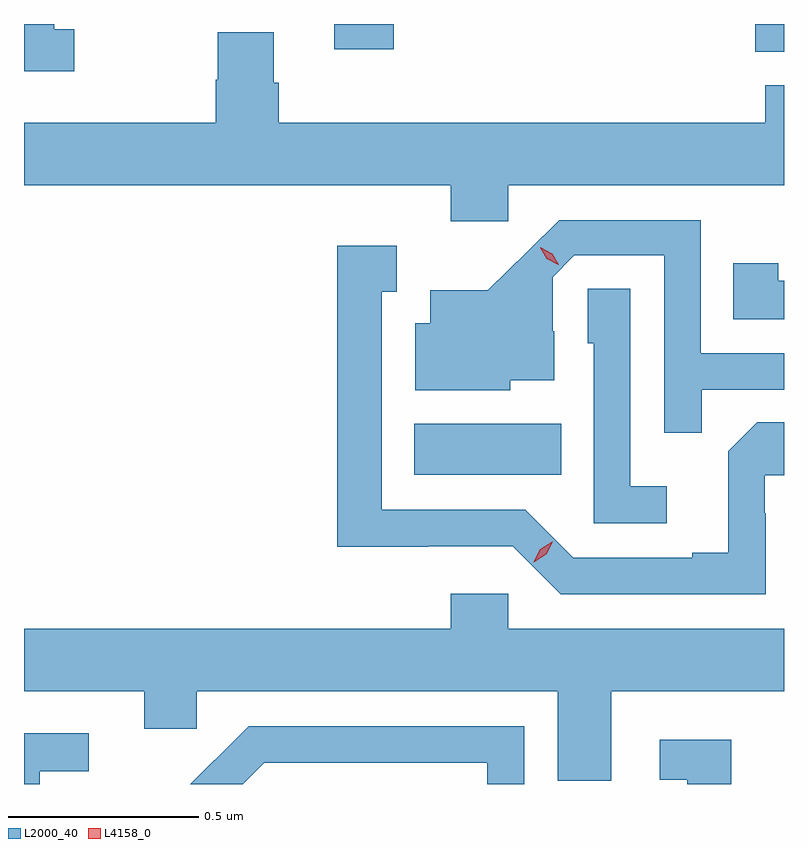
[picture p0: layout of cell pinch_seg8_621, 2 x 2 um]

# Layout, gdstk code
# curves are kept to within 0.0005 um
import gdstk
lib = gdstk.Library(unit=1e-6, precision=1e-09)
def R(c, l, rs):  # rectangles x0, y0, x1, y1
    for r in rs: c.add(gdstk.rectangle(r[:2], r[2:], *l))
def P(c, l, *ps):  # polygons
    for p in ps: c.add(gdstk.Polygon(p, *l))
L2000_40 = (2000, 40)
L4158_0 = (4158, 0)

pinch_seg8_621 = lib.new_cell('pinch_seg8_621')
R(pinch_seg8_621, L2000_40, [(160.235,1102.418,160.622,1102.552), (161.132,1103.531,161.208,1103.604), (160.025,1103.538,160.181,1103.604)])
P(pinch_seg8_621, L2000_40, [(159.34,1103.59),(159.288,1103.59),(159.288,1103.604),(159.208,1103.604),(159.208,1103.48),(159.34,1103.48)],
  [(160.482,1103.18),(161.208,1103.18),(161.208,1103.443),(161.159,1103.443),(161.159,1103.344),(159.878,1103.344),(159.878,1103.45),(159.865,1103.45),(159.865,1103.582),(159.718,1103.582),(159.718,1103.457),(159.713,1103.457),(159.713,1103.344),(159.208,1103.344),(159.208,1103.18),(160.331,1103.18),(160.331,1103.085),(160.482,1103.085)],
  [(160.991,1102.641),(161.208,1102.641),(161.208,1102.737),(160.989,1102.737),(160.989,1103.088),(160.616,1103.088),(160.429,1102.903),(160.277,1102.903),(160.277,1102.816),(160.238,1102.816),(160.238,1102.64),(160.488,1102.64),(160.488,1102.667),(160.603,1102.667),(160.603,1102.796),(160.599,1102.796),(160.599,1102.938),(160.656,1102.995),(160.893,1102.995),(160.893,1102.528),(160.991,1102.528)],
  [(161.16,1102.316),(161.157,1102.316),(161.157,1102.416),(161.208,1102.416),(161.208,1102.556),(161.137,1102.556),(161.061,1102.48),(161.061,1102.213),(160.967,1102.213),(160.967,1102.2),(160.653,1102.2),(160.527,1102.326),(160.15,1102.326),(160.15,1102.899),(160.189,1102.899),(160.189,1103.02),(160.032,1103.02),(160.032,1102.229),(160.272,1102.229),(160.272,1102.23),(160.494,1102.23),(160.62,1102.104),(161.16,1102.104)],
  [(161.208,1102.928),(161.193,1102.928),(161.193,1102.975),(161.074,1102.975),(161.074,1102.827),(161.208,1102.827)],
  [(160.9,1102.387),(160.803,1102.387),(160.803,1102.907),(160.692,1102.907),(160.692,1102.764),(160.707,1102.764),(160.707,1102.29),(160.9,1102.29)],
  [(160.753,1101.848),(161.208,1101.848),(161.208,1102.012),(160.482,1102.012),(160.482,1102.105),(160.331,1102.105),(160.331,1102.012),(159.208,1102.012),(159.208,1101.848),(159.524,1101.848),(159.524,1101.75),(159.663,1101.75),(159.663,1101.848),(160.613,1101.848),(160.613,1101.613),(160.753,1101.613)],
  [(159.84,1101.66),(160.427,1101.66),(160.427,1101.604),(160.524,1101.604),(160.524,1101.756),(159.8,1101.756),(159.709,1101.665),(159.708,1101.666),(159.646,1101.604),(159.784,1101.604)],
  [(159.25,1101.637),(159.379,1101.637),(159.379,1101.738),(159.208,1101.738),(159.208,1101.604),(159.25,1101.604)],
  [(161.069,1101.721),(160.881,1101.721),(160.881,1101.615),(160.953,1101.615),(160.953,1101.604),(161.069,1101.604)])
P(pinch_seg8_621, L4158_0, [(160.614,1102.97),(160.584,1102.986),(160.567,1103.015),(160.567,1103.016),(160.567,1103.016),(160.598,1103),(160.615,1102.97),(160.615,1102.97)],
  [(160.55,1102.188),(160.55,1102.189),(160.567,1102.222),(160.598,1102.241),(160.599,1102.241),(160.599,1102.241),(160.582,1102.208),(160.55,1102.188)])

lib.write_gds('pinch_seg8_621.gds')
